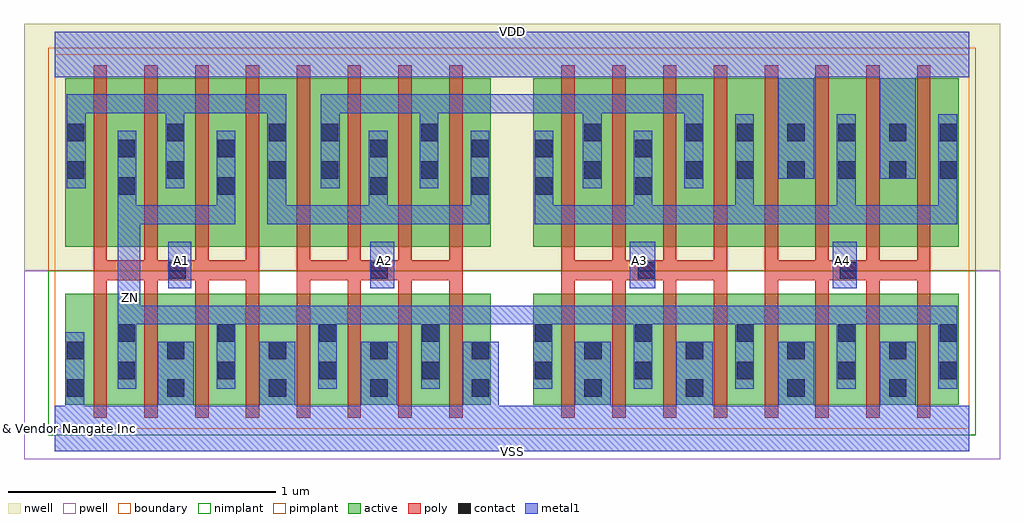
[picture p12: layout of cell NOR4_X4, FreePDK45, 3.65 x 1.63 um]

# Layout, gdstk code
import gdstk
lib = gdstk.Library(unit=1e-6, precision=1e-10)
def R(c, l, rs):  # rectangles x0, y0, x1, y1
    for r in rs: c.add(gdstk.rectangle(r[:2], r[2:], *l))
def A(c, l, x, y, w, h, nx, ny, dx, dy):  # array of equal rectangles
    R(c, l, [(x+i*dx, y+j*dy, x+i*dx+w, y+j*dy+h) for i in range(nx) for j in range(ny)])
def P(c, l, *ps):  # polygons
    for p in ps: c.add(gdstk.Polygon(p, *l))
active = (1, 0)
pwell = (2, 0)
nwell = (3, 0)
nimplant = (4, 0)
pimplant = (5, 0)
poly = (9, 0)
contact = (10, 0)
metal1 = (11, 0)
boundary = (235, 0)

nor4_x4 = lib.new_cell('NOR4_X4')
R(nor4_x4, active, [(0.04,0.09,1.63,0.505), (1.79,0.09,3.38,0.505), (0.04,0.68,1.63,1.31), (1.79,0.68,3.38,1.31)])
R(nor4_x4, pwell, [(-0.115,-0.115,3.535,0.59)])
R(nor4_x4, nwell, [(-0.115,0.59,3.535,1.515)])
R(nor4_x4, nimplant, [(-0.025,-0.025,3.445,0.59)])
R(nor4_x4, pimplant, [(-0.025,0.59,3.445,1.425)])
P(nor4_x4, poly, [(0.145,0.04),(0.145,1.36),(0.195,1.36),(0.195,0.63),(0.335,0.63),(0.335,1.36),(0.385,1.36),(0.385,0.63),(0.525,0.63),(0.525,1.36),(0.575,1.36),(0.575,0.63),(0.715,0.63),(0.715,1.36),(0.765,1.36),(0.765,0.04),(0.715,0.04),(0.715,0.555),(0.575,0.555),(0.575,0.04),(0.525,0.04),(0.525,0.555),(0.385,0.555),(0.385,0.04),(0.335,0.04),(0.335,0.555),(0.195,0.555),(0.195,0.04)],
  [(0.905,0.04),(0.905,1.36),(0.955,1.36),(0.955,0.63),(1.095,0.63),(1.095,1.36),(1.145,1.36),(1.145,0.63),(1.285,0.63),(1.285,1.36),(1.335,1.36),(1.335,0.63),(1.475,0.63),(1.475,1.36),(1.525,1.36),(1.525,0.04),(1.475,0.04),(1.475,0.555),(1.335,0.555),(1.335,0.04),(1.285,0.04),(1.285,0.555),(1.145,0.555),(1.145,0.04),(1.095,0.04),(1.095,0.555),(0.955,0.555),(0.955,0.04)],
  [(1.895,0.04),(1.895,1.36),(1.945,1.36),(1.945,0.63),(2.085,0.63),(2.085,1.36),(2.135,1.36),(2.135,0.63),(2.275,0.63),(2.275,1.36),(2.325,1.36),(2.325,0.63),(2.465,0.63),(2.465,1.36),(2.515,1.36),(2.515,0.04),(2.465,0.04),(2.465,0.555),(2.325,0.555),(2.325,0.04),(2.275,0.04),(2.275,0.555),(2.135,0.555),(2.135,0.04),(2.085,0.04),(2.085,0.555),(1.945,0.555),(1.945,0.04)],
  [(2.655,0.04),(2.655,1.36),(2.705,1.36),(2.705,0.63),(2.845,0.63),(2.845,1.36),(2.895,1.36),(2.895,0.63),(3.035,0.63),(3.035,1.36),(3.085,1.36),(3.085,0.63),(3.225,0.63),(3.225,1.36),(3.275,1.36),(3.275,0.04),(3.225,0.04),(3.225,0.555),(3.085,0.555),(3.085,0.04),(3.035,0.04),(3.035,0.555),(2.895,0.555),(2.895,0.04),(2.845,0.04),(2.845,0.555),(2.705,0.555),(2.705,0.04)])
A(nor4_x4, contact, 0.42, 0.12, 0.065, 0.065, 4, 2, 0.38, 0.14)
A(nor4_x4, contact, 1.98, 0.12, 0.065, 0.065, 4, 2, 0.38, 0.14)
A(nor4_x4, contact, 2.17, 0.185, 0.065, 0.065, 4, 2, 0.38, 0.14)
A(nor4_x4, contact, 2.36, 0.935, 0.065, 0.065, 6, 2, 0.19, 0.14)
R(nor4_x4, contact, [(0.045,0.12,0.11,0.185), (0.235,0.185,0.3,0.25), (0.61,0.185,0.675,0.25), (0.99,0.185,1.055,0.25), (1.375,0.185,1.44,0.25), (1.795,0.185,1.86,0.25), (0.045,0.26,0.11,0.325), (0.235,0.325,0.3,0.39), (0.61,0.325,0.675,0.39), (0.99,0.325,1.055,0.39), (1.375,0.325,1.44,0.39), (1.795,0.325,1.86,0.39), (0.425,0.56,0.49,0.625), (1.18,0.56,1.245,0.625), (2.18,0.56,2.245,0.625), (2.935,0.56,3,0.625), (0.235,0.875,0.3,0.94), (0.61,0.875,0.675,0.94), (1.18,0.875,1.245,0.94), (1.56,0.875,1.625,0.94), (1.795,0.875,1.86,0.94), (2.17,0.875,2.235,0.94), (0.045,0.935,0.11,1), (0.42,0.935,0.485,1), (0.8,0.935,0.865,1), (0.995,0.935,1.06,1), (1.37,0.935,1.435,1), (1.98,0.935,2.045,1), (0.235,1.015,0.3,1.08), (0.61,1.015,0.675,1.08), (1.18,1.015,1.245,1.08), (1.56,1.015,1.625,1.08), (1.795,1.015,1.86,1.08), (2.17,1.015,2.235,1.08), (0.045,1.075,0.11,1.14), (0.42,1.075,0.485,1.14), (0.8,1.075,0.865,1.14), (0.995,1.075,1.06,1.14), (1.37,1.075,1.435,1.14), (1.98,1.075,2.045,1.14)])
R(nor4_x4, metal1, [(0.425,0.525,0.51,0.7), (1.18,0.525,1.27,0.7), (2.15,0.525,2.245,0.7), (2.91,0.525,3,0.7)])
P(nor4_x4, metal1, [(0.795,0.765),(0.795,1.18),(0.485,1.18),(0.485,0.9),(0.415,0.9),(0.415,1.18),(0.115,1.18),(0.115,0.9),(0.045,0.9),(0.045,1.25),(0.865,1.25),(0.865,0.835),(1.175,0.835),(1.175,1.115),(1.245,1.115),(1.245,0.835),(1.555,0.835),(1.555,1.115),(1.625,1.115),(1.625,0.765)],
  [(0.995,0.9),(0.995,1.25),(2.425,1.25),(2.425,0.9),(2.355,0.9),(2.355,1.18),(2.045,1.18),(2.045,0.9),(1.975,0.9),(1.975,1.18),(1.435,1.18),(1.435,0.9),(1.365,0.9),(1.365,1.18),(1.065,1.18),(1.065,0.9)],
  [(0.235,0.15),(0.235,1.115),(0.305,1.115),(0.305,0.835),(0.605,0.835),(0.605,1.115),(0.675,1.115),(0.675,0.765),(0.32,0.765),(0.32,0.46),(3.375,0.46),(3.375,0.15),(3.305,0.15),(3.305,0.39),(2.995,0.39),(2.995,0.15),(2.925,0.15),(2.925,0.39),(2.615,0.39),(2.615,0.15),(2.545,0.15),(2.545,0.39),(2.235,0.39),(2.235,0.15),(2.165,0.15),(2.165,0.39),(1.86,0.39),(1.86,0.15),(1.79,0.15),(1.79,0.39),(1.44,0.39),(1.44,0.15),(1.37,0.15),(1.37,0.39),(1.055,0.39),(1.055,0.15),(0.985,0.15),(0.985,0.39),(0.675,0.39),(0.675,0.15),(0.605,0.15),(0.605,0.39),(0.305,0.39),(0.305,0.15)],
  [(1.795,0.765),(1.795,1.115),(1.865,1.115),(1.865,0.835),(2.165,0.835),(2.165,1.115),(2.235,1.115),(2.235,0.835),(2.545,0.835),(2.545,1.175),(2.615,1.175),(2.615,0.835),(2.925,0.835),(2.925,1.175),(2.995,1.175),(2.995,0.835),(3.305,0.835),(3.305,1.175),(3.375,1.175),(3.375,0.765)],
  [(0,-0.085),(0,0.085),(0.04,0.085),(0.04,0.36),(0.11,0.36),(0.11,0.085),(0.385,0.085),(0.385,0.325),(0.52,0.325),(0.52,0.085),(0.765,0.085),(0.765,0.325),(0.9,0.325),(0.9,0.085),(1.145,0.085),(1.145,0.325),(1.28,0.325),(1.28,0.085),(1.525,0.085),(1.525,0.325),(1.66,0.325),(1.66,0.085),(1.945,0.085),(1.945,0.325),(2.08,0.325),(2.08,0.085),(2.325,0.085),(2.325,0.325),(2.46,0.325),(2.46,0.085),(2.705,0.085),(2.705,0.325),(2.84,0.325),(2.84,0.085),(3.085,0.085),(3.085,0.325),(3.22,0.325),(3.22,0.085),(3.42,0.085),(3.42,-0.085)],
  [(2.705,0.935),(2.705,1.315),(0,1.315),(0,1.485),(3.42,1.485),(3.42,1.315),(3.22,1.315),(3.22,0.935),(3.085,0.935),(3.085,1.315),(2.84,1.315),(2.84,0.935)])
R(nor4_x4, boundary, [(0,0,3.42,1.4)])
nor4_x4.add(gdstk.Label('A1', (0.475,0.63), layer=11, texttype=0))
nor4_x4.add(gdstk.Label('A2', (1.235,0.63), layer=11, texttype=0))
nor4_x4.add(gdstk.Label('A3', (2.185,0.63), layer=11, texttype=0))
nor4_x4.add(gdstk.Label('A4', (2.945,0.63), layer=11, texttype=0))
nor4_x4.add(gdstk.Label('VDD', (1.71,1.485), layer=11, texttype=0))
nor4_x4.add(gdstk.Label('VSS', (1.71,-0.085), layer=11, texttype=0))
nor4_x4.add(gdstk.Label('ZN', (0.285,0.49), layer=11, texttype=0))
nor4_x4.add(gdstk.Label('& Vendor Nangate Inc', (0,0), layer=63, texttype=63))
nor4_x4.add(gdstk.Label('& Product Open Cell Library', (0,0), layer=63, texttype=63))
nor4_x4.add(gdstk.Label('& Version 2010_12', (0,0), layer=63, texttype=63))
nor4_x4.add(gdstk.Label('& Instance NOR4_X4', (0,0), layer=63, texttype=63))

lib.write_gds('NOR4_X4.gds')
